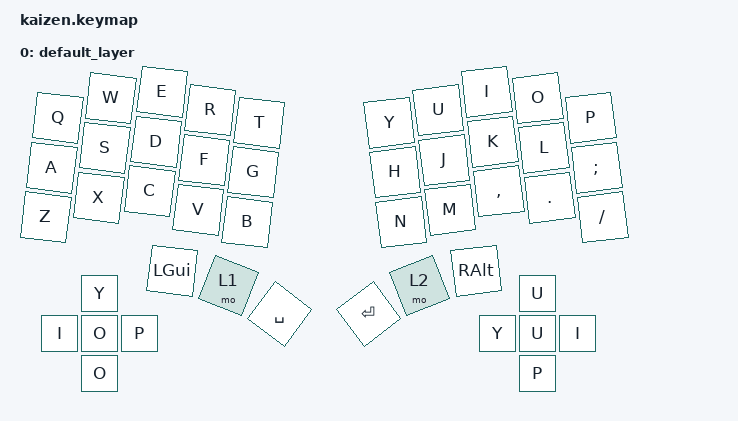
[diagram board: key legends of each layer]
/*
 * Copyright (c) 2020 The ZMK Contributors
 * and (c) 2022 tubbytwins (Matthew A. Schnoor) and beekeeb
 *
 * SPDX-License-Identifier: MIT
 */

#include <behaviors.dtsi>
#include <dt-bindings/zmk/keys.h>

#define DEFAULT 0

/ {
    keymap {
        compatible = "zmk,keymap";
        default_layer {
            bindings = <

        &kp Q  &kp W  &kp E  &kp R  &kp T           &kp Y   &kp U  &kp I     &kp O    &kp P
        &kp A  &kp S  &kp D  &kp F  &kp G           &kp H   &kp J  &kp K     &kp L    &kp SEMI
        &kp Z  &kp X  &kp C  &kp V  &kp B           &kp N   &kp M  &kp COMMA &kp DOT  &kp SLASH
                      &kp LGUI  &mo 1  &kp SPACE    &kp RET &mo 2  &kp RALT
                &kp Y                                                        &kp U
        &kp I   &kp O    &kp P                                       &kp Y   &kp U  &kp I
                &kp O                                                        &kp P

            >;
        };
    };
};
